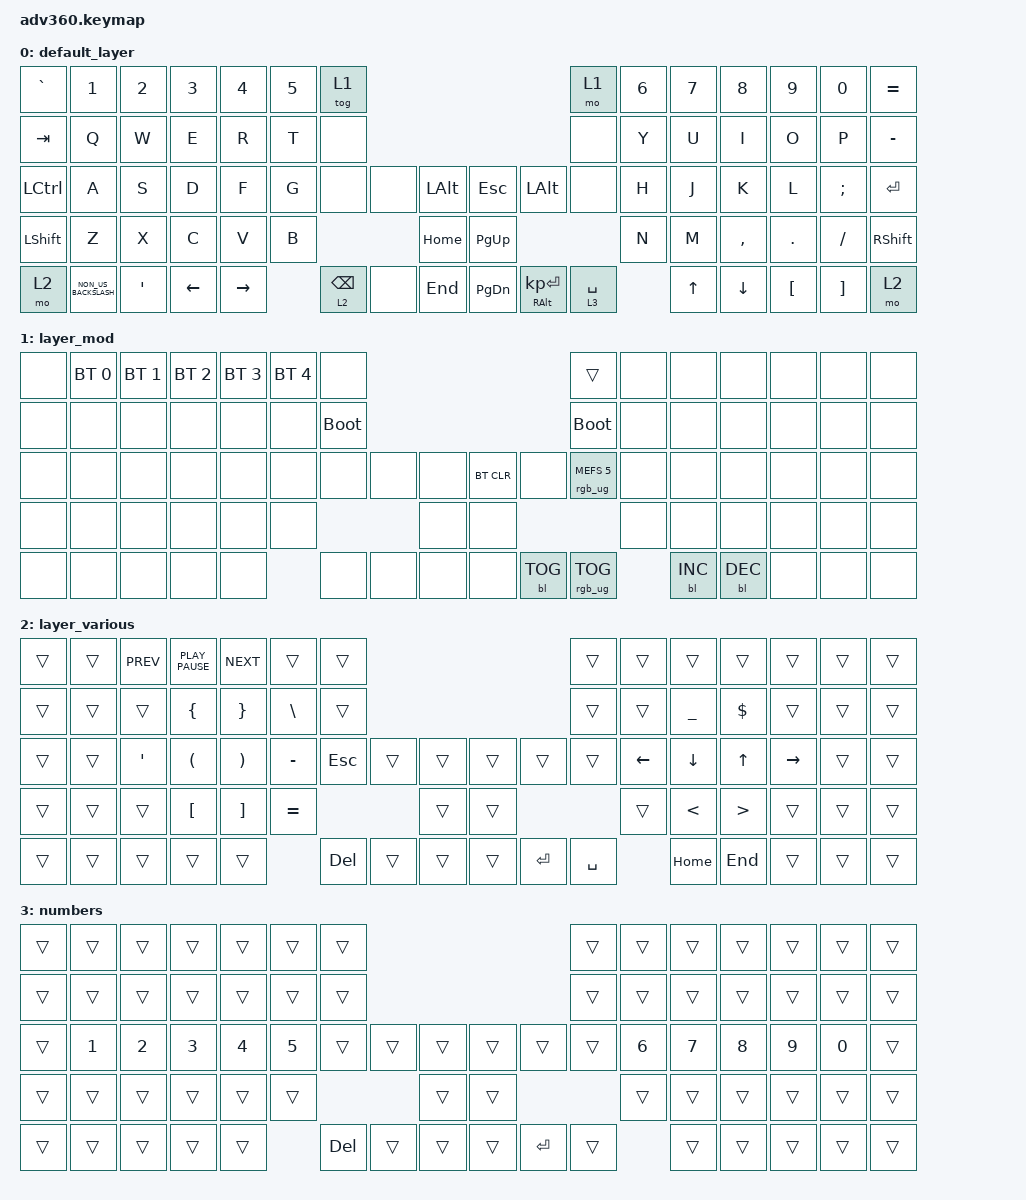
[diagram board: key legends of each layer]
/*
 * Copyright (c) 2020 The ZMK Contributors
 *
 * SPDX-License-Identifier: MIT
 */
/* THIS FILE WAS GENERATED!
 *
 * This file was generated automatically. You may or may not want to
 * edit it directly.
 */

#include <behaviors.dtsi>
#include <dt-bindings/zmk/backlight.h>
#include <dt-bindings/zmk/bt.h>
#include <dt-bindings/zmk/keys.h>
#include <dt-bindings/zmk/rgb.h>

/ {
    behaviors {
        #include "macros.dtsi"
    #include "version.dtsi"

        hm: homerow_mods {
            compatible = "zmk,behavior-hold-tap";
            label = "HOMEROW_MODS";
            #binding-cells = <2>;
            tapping-term-ms = <200>;
            quick_tap_ms = <175>;
            flavor = "tap-preferred";
            bindings = <&kp>, <&kp>;
        };
    };

    keymap {
        compatible = "zmk,keymap";

        default_layer {
            bindings = <
&kp GRAVE  &kp N1                &kp N2    &kp N3    &kp N4     &kp N5  &tog 1                                                                       &mo 1        &kp N6  &kp N7  &kp N8     &kp N9    &kp N0    &kp EQUAL
&kp TAB    &kp Q                 &kp W     &kp E     &kp R      &kp T   &none                                                                        &none        &kp Y   &kp U   &kp I      &kp O     &kp P     &kp MINUS
&kp LCTRL  &kp A                 &kp S     &kp D     &kp F      &kp G   &none            &none  &kp LEFT_ALT      &kp ESC    &kp LALT                &none        &kp H   &kp J   &kp K      &kp L     &kp SEMI  &kp ENTER
&kp LSHFT  &kp Z                 &kp X     &kp C     &kp V      &kp B                           &kp HOME          &kp PG_UP                                       &kp N   &kp M   &kp COMMA  &kp DOT   &kp FSLH  &kp RIGHT_SHIFT
&mo 2      &kp NON_US_BACKSLASH  &kp APOS  &kp LEFT  &kp RIGHT          &lt 2 BACKSPACE  &none  &kp END           &kp PG_DN  &mt RIGHT_ALT KP_ENTER  &lt 3 SPACE          &kp UP  &kp DOWN   &kp LBKT  &kp RBKT  &mo 2
            >;
        };

        layer_mod {
            bindings = <
&none  &bt BT_SEL 0  &bt BT_SEL 1  &bt BT_SEL 2  &bt BT_SEL 3  &bt BT_SEL 4  &none                                                  &trans                  &none  &none       &none       &none  &none  &none
&none  &none         &none         &none         &none         &none         &bootloader                                            &bootloader             &none  &none       &none       &none  &none  &none
&none  &none         &none         &none         &none         &none         &none        &none  &none      &bt BT_CLR  &none       &rgb_ug RGB_MEFS_CMD 5  &none  &none       &none       &none  &none  &none
&none  &none         &none         &none         &none         &none                             &none      &none                                           &none  &none       &none       &none  &none  &none
&none  &none         &none         &none         &none                       &none        &none  &none      &none       &bl BL_TOG  &rgb_ug RGB_TOG                &bl BL_INC  &bl BL_DEC  &none  &none  &none
            >;
        };

        layer_various {
            bindings = <
&trans  &trans  &kp K_PREV  &kp K_PLAY_PAUSE      &kp K_NEXT             &trans         &trans                                          &trans     &trans          &trans          &trans            &trans           &trans  &trans
&trans  &trans  &trans      &kp LEFT_BRACE        &kp RIGHT_BRACE        &kp BACKSLASH  &trans                                          &trans     &trans          &kp UNDER       &kp DOLLAR        &trans           &trans  &trans
&trans  &trans  &kp SQT     &kp LEFT_PARENTHESIS  &kp RIGHT_PARENTHESIS  &kp MINUS      &kp ESC  &trans  &trans      &trans  &trans     &trans     &kp LEFT_ARROW  &kp DOWN_ARROW  &kp UP_ARROW      &kp RIGHT_ARROW  &trans  &trans
&trans  &trans  &trans      &kp LEFT_BRACKET      &kp RIGHT_BRACKET      &kp EQUAL                       &trans      &trans                        &trans          &kp LESS_THAN   &kp GREATER_THAN  &trans           &trans  &trans
&trans  &trans  &trans      &trans                &trans                                &kp DEL  &trans  &trans      &trans  &kp ENTER  &kp SPACE                  &kp HOME        &kp END           &trans           &trans  &trans
            >;
        };

        numbers {
            bindings = <
&trans  &trans        &trans        &trans        &trans        &trans  &trans                                             &trans  &trans        &trans  &trans  &trans  &trans  &trans
&trans  &trans        &trans        &trans        &trans        &trans  &trans                                             &trans  &trans        &trans  &trans  &trans  &trans  &trans
&trans  &kp NUMBER_1  &kp NUMBER_2  &kp NUMBER_3  &kp NUMBER_4  &kp N5  &trans      &trans  &trans      &trans  &trans     &trans  &kp NUMBER_6  &kp N7  &kp N8  &kp N9  &kp N0  &trans
&trans  &trans        &trans        &trans        &trans        &trans                      &trans      &trans                     &trans        &trans  &trans  &trans  &trans  &trans
&trans  &trans        &trans        &trans        &trans                &kp DELETE  &trans  &trans      &trans  &kp ENTER  &trans                &trans  &trans  &trans  &trans  &trans
            >;
        };
    };
};
